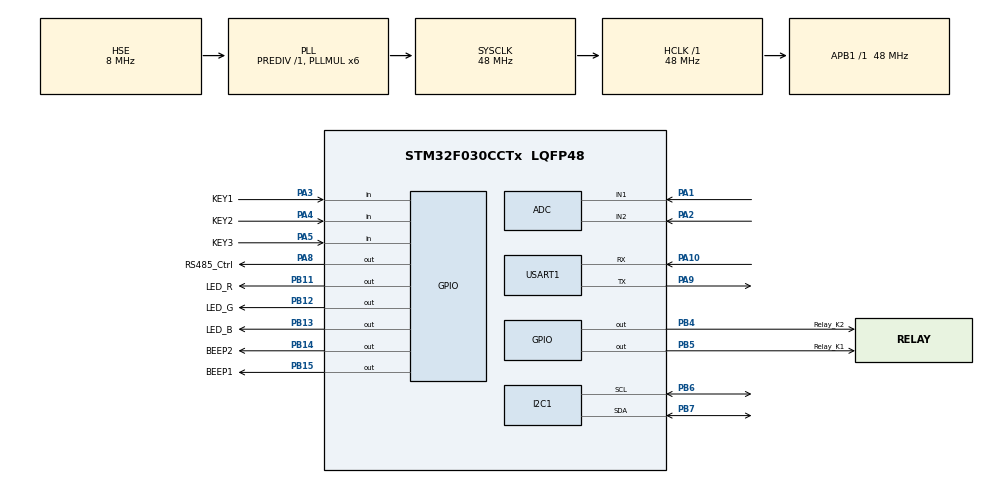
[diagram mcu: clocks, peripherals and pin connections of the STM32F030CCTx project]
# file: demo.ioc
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ADC.DiscontinuousConvMode=ENABLE
FREERTOS.Tasks01=defaultTask,24,128,StartDefaultTask,Default,NULL,Dynamic,NULL,NULL
I2C1.Timing=0x00201D2B
Mcu.Family=STM32F0
Mcu.Name=STM32F030CCTx
Mcu.Package=LQFP48
NVIC.USART1_IRQn=true\:3\:0\:false\:false\:true\:true\:true\:true\:true
PA1.Mode=IN1
PA1.Signal=ADC_IN1
PA10.Mode=Asynchronous
PA10.Signal=USART1_RX
PA13.Mode=Serial_Wire
PA13.Signal=SYS_SWDIO
PA14.Mode=Serial_Wire
PA14.Signal=SYS_SWCLK
PA2.Mode=IN2
PA2.Signal=ADC_IN2
PA3.GPIO_Label=KEY1
PA3.Signal=GPIO_Input
PA4.GPIO_Label=KEY2
PA4.Signal=GPIO_Input
PA5.GPIO_Label=KEY3
PA5.Signal=GPIO_Input
PA8.GPIO_Label=RS485_Ctrl
PA8.Signal=GPIO_Output
PA9.Mode=Asynchronous
PA9.Signal=USART1_TX
PB11.GPIO_Label=LED_R
PB11.PinState=GPIO_PIN_RESET
PB11.Signal=GPIO_Output
PB12.GPIO_Label=LED_G
PB12.PinState=GPIO_PIN_RESET
PB12.Signal=GPIO_Output
PB13.GPIO_Label=LED_B
PB13.PinState=GPIO_PIN_RESET
PB13.Signal=GPIO_Output
PB14.GPIO_Label=BEEP2
PB14.Signal=GPIO_Output
PB15.GPIO_Label=BEEP1
PB15.Signal=GPIO_Output
PB4.GPIO_Label=Relay_K2
PB4.Signal=GPIO_Output
PB5.GPIO_Label=Relay_K1
PB5.Signal=GPIO_Output
PB6.Mode=I2C
PB6.Signal=I2C1_SCL
PB7.Mode=I2C
PB7.Signal=I2C1_SDA
PF0-OSC_IN.Mode=HSE-External-Oscillator
PF0-OSC_IN.Signal=RCC_OSC_IN
PF1-OSC_OUT.Mode=HSE-External-Oscillator
PF1-OSC_OUT.Signal=RCC_OSC_OUT
ProjectManager.HeapSize=0x200
ProjectManager.StackSize=0x400
ProjectManager.TargetToolchain=MDK-ARM V5.32
RCC.AHBFreq_Value=48000000
RCC.APB1Freq_Value=48000000
RCC.APB1TimFreq_Value=48000000
RCC.EnbaleCSS=true
RCC.HCLKFreq_Value=48000000
RCC.PLLMUL=RCC_PLL_MUL6
RCC.PLLSourceVirtual=RCC_PLLSOURCE_HSE
RCC.SYSCLKFreq_VALUE=48000000
RCC.SYSCLKSource=RCC_SYSCLKSOURCE_PLLCLK
USART1.VirtualMode-Asynchronous=VM_ASYNC
VP_FREERTOS_VS_CMSIS_V2.Mode=CMSIS_V2
board=custom

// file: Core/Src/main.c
/* USER CODE BEGIN Header */
/**
  ******************************************************************************
  * @file           : main.c
  * @brief          : Main program body
  ******************************************************************************
  * @attention
  *
  * Copyright (c) 2024 STMicroelectronics.
  * All rights reserved.
  *
  * This software is licensed under terms that can be found in the LICENSE file
  * in the root directory of this software component.
  * If no LICENSE file comes with this software, it is provided AS-IS.
  *
  ******************************************************************************
  */
/* USER CODE END Header */
#include "main.h"
#include "cmsis_os.h"
#include "adc.h"
#include "i2c.h"
#include "usart.h"
#include "gpio.h"

void SystemClock_Config(void);
void MX_FREERTOS_Init(void);

int main(void)
{

  /* MCU Configuration--------------------------------------------------------*/

  /* Reset of all peripherals, Initializes the Flash interface and the Systick. */
  HAL_Init();

  /* Configure the system clock */
  SystemClock_Config();

  /* Initialize all configured peripherals */
  MX_GPIO_Init();
  MX_USART1_UART_Init();
  MX_ADC_Init();
  MX_I2C1_Init();

  /* Init scheduler */
  osKernelInitialize();

  /* Call init function for freertos objects (in cmsis_os2.c) */
  MX_FREERTOS_Init();

  /* Start scheduler */
  osKernelStart();

  /* We should never get here as control is now taken by the scheduler */

  /* Infinite loop */
  /* USER CODE BEGIN WHILE */
  while (1)
  {

		HAL_GPIO_WritePin(LED_G_GPIO_Port, LED_G_Pin, GPIO_PIN_RESET);
		HAL_Delay(1000);
		HAL_GPIO_WritePin(LED_G_GPIO_Port, LED_G_Pin, GPIO_PIN_SET);
		HAL_Delay(1000);
    /* USER CODE END WHILE */

  }
}

void SystemClock_Config(void)
{
  RCC_OscInitTypeDef RCC_OscInitStruct = {0};
  RCC_ClkInitTypeDef RCC_ClkInitStruct = {0};
  RCC_PeriphCLKInitTypeDef PeriphClkInit = {0};

  /** Initializes the RCC Oscillators according to the specified parameters
  * in the RCC_OscInitTypeDef structure.
  */
  RCC_OscInitStruct.OscillatorType = RCC_OSCILLATORTYPE_HSI|RCC_OSCILLATORTYPE_HSI14
                              |RCC_OSCILLATORTYPE_HSE;
  RCC_OscInitStruct.HSEState = RCC_HSE_ON;
  RCC_OscInitStruct.HSIState = RCC_HSI_ON;
  RCC_OscInitStruct.HSI14State = RCC_HSI14_ON;
  RCC_OscInitStruct.HSICalibrationValue = RCC_HSICALIBRATION_DEFAULT;
  RCC_OscInitStruct.HSI14CalibrationValue = 16;
  RCC_OscInitStruct.PLL.PLLState = RCC_PLL_ON;
  RCC_OscInitStruct.PLL.PLLSource = RCC_PLLSOURCE_HSE;
  RCC_OscInitStruct.PLL.PLLMUL = RCC_PLL_MUL6;
  RCC_OscInitStruct.PLL.PREDIV = RCC_PREDIV_DIV1;
  if (HAL_RCC_OscConfig(&RCC_OscInitStruct) != HAL_OK)
  {
    Error_Handler();
  }

  /** Initializes the CPU, AHB and APB buses clocks
  */
  RCC_ClkInitStruct.ClockType = RCC_CLOCKTYPE_HCLK|RCC_CLOCKTYPE_SYSCLK
                              |RCC_CLOCKTYPE_PCLK1;
  RCC_ClkInitStruct.SYSCLKSource = RCC_SYSCLKSOURCE_PLLCLK;
  RCC_ClkInitStruct.AHBCLKDivider = RCC_SYSCLK_DIV1;
  RCC_ClkInitStruct.APB1CLKDivider = RCC_HCLK_DIV1;

  if (HAL_RCC_ClockConfig(&RCC_ClkInitStruct, FLASH_LATENCY_1) != HAL_OK)
  {
    Error_Handler();
  }
  PeriphClkInit.PeriphClockSelection = RCC_PERIPHCLK_USART1|RCC_PERIPHCLK_I2C1;
  PeriphClkInit.Usart1ClockSelection = RCC_USART1CLKSOURCE_PCLK1;
  PeriphClkInit.I2c1ClockSelection = RCC_I2C1CLKSOURCE_HSI;
  if (HAL_RCCEx_PeriphCLKConfig(&PeriphClkInit) != HAL_OK)
  {
    Error_Handler();
  }

  /** Enables the Clock Security System
  */
  HAL_RCC_EnableCSS();
}

void Error_Handler(void)
{
  __disable_irq();
  while (1)
  {
  }
}

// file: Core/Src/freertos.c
/* USER CODE BEGIN Header */
/**
  ******************************************************************************
  * File Name          : freertos.c
  * Description        : Code for freertos applications
  ******************************************************************************
  * @attention
  *
  * Copyright (c) 2024 STMicroelectronics.
  * All rights reserved.
  *
  * This software is licensed under terms that can be found in the LICENSE file
  * in the root directory of this software component.
  * If no LICENSE file comes with this software, it is provided AS-IS.
  *
  ******************************************************************************
  */
/* USER CODE END Header */

#include "FreeRTOS.h"
#include "task.h"
#include "main.h"
#include "cmsis_os.h"

/* USER CODE BEGIN Includes */

#include "modbus.h"
#include "errno.h"
#include <string.h>

/* USER CODE END Includes */

/* USER CODE BEGIN PTD */

extern int errno;

/* USER CODE END PTD */

/* USER CODE BEGIN PD */

//#define 	SENOR_SWITCH
//#define 	SENOR_MONITOR
#define		SENOR_TEMPHUMI

#ifdef SENOR_SWITCH

#define SLAVE_ADDR						1
#define NB_BITS							5
#define NB_INPUT_BITS					3
#define NB_REGISTERS					0
#define NB_INPUT_REGISTERS				0

#endif

#ifdef SENOR_MONITOR

extern ADC_HandleTypeDef hadc;

#define SLAVE_ADDR						2
#define NB_BITS							5
#define NB_INPUT_BITS					0
#define NB_REGISTERS					0
#define NB_INPUT_REGISTERS				2

#endif

#ifdef SENOR_TEMPHUMI

extern ADC_HandleTypeDef hadc;

#define SLAVE_ADDR						3
#define NB_BITS							5
#define NB_INPUT_BITS					0
#define NB_REGISTERS					0
#define NB_INPUT_REGISTERS				2

#endif

/* USER CODE END PD */

/* Definitions for defaultTask */
osThreadId_t defaultTaskHandle;
const osThreadAttr_t defaultTask_attributes = {
  .name = "defaultTask",
  .stack_size = 128 * 4,
  .priority = (osPriority_t) osPriorityNormal,
};

/* USER CODE BEGIN FunctionPrototypes */

#ifdef SENOR_TEMPHUMI

unsigned char Calc_CRC8(unsigned char *message,unsigned char Num)
{
	unsigned char i;
	unsigned char byte;
	unsigned char crc =0xFF;
	for (byte = 0;byte<Num;byte++)
	{
		crc^=(message[byte]);
		for(i=8;i>0;--i)
		{
			if(crc&0x80)
				crc=(crc<<1)^0x31;
			else
				crc=(crc<<1);
		}
	}
	return crc;
}//

static 	uint32_t g_temp,g_humi;

static void AHT20_GetData(uint16_t *temp, uint16_t *humi)
{
	*temp = g_temp;
	*humi = g_humi;
}

void AHT20Task(void *param)
{
	extern I2C_HandleTypeDef hi2c1;
	uint8_t aht20_cmd[] = {0xac, 0x33, 0x00};
	uint8_t tempHumiData[7];
	uint8_t crc;

	/* AHT20 ready */
	vTaskDelay(10);

	while(1)
	{
		 if (HAL_OK == HAL_I2C_Master_Transmit(&hi2c1, 0x70, aht20_cmd, 3, 100))
		 {
		 	/* AHT20 ready */
			vTaskDelay(100);
			if(HAL_OK == HAL_I2C_Master_Receive(&hi2c1, 0x70, tempHumiData, 7, 100))
			{
				/* caculate crc */
				crc = Calc_CRC8(tempHumiData, 6);
				if(crc == tempHumiData[6])
				{
					/* read ok */
					g_humi = ((uint32_t)tempHumiData[1] << 12) | ((uint32_t)tempHumiData[2] << 4) | ((uint32_t)tempHumiData[3] >> 4);
					g_temp = (((uint32_t)tempHumiData[3] & 0x0f ) << 16) | ((uint32_t)tempHumiData[4] << 8) | ((uint32_t)tempHumiData[5]);

					g_humi = g_humi * 100 * 10 / 0x100000;	/* 0.1% */
					g_temp = g_temp * 200 * 10 / 0x100000 - 500;

				}
			}
		 }

		 vTaskDelay(30);
	}

}

#endif

/* USER CODE END FunctionPrototypes */

void StartDefaultTask(void *argument);

void MX_FREERTOS_Init(void); /* (MISRA C 2004 rule 8.1) */

void MX_FREERTOS_Init(void) {

  /* Create the thread(s) */
  /* creation of defaultTask */
  defaultTaskHandle = osThreadNew(StartDefaultTask, NULL, &defaultTask_attributes);

  /* USER CODE BEGIN RTOS_THREADS */
  /* add threads, ... */
  #ifdef SENOR_TEMPHUMI

  osThreadNew(AHT20Task, NULL, &defaultTask_attributes);

  #endif

  /* USER CODE END RTOS_THREADS */

}

void StartDefaultTask(void *argument)
{
  /* USER CODE BEGIN StartDefaultTask */
  /* Infinite loop */
  	GPIO_PinState val;
	uint8_t *query;
	modbus_t *ctx;
	int rc;
	modbus_mapping_t *mb_mapping;

	ctx = modbus_new_st_rtu("uart1", 115200, 'N', 8, 1);
	modbus_set_slave(ctx, SLAVE_ADDR);
	query = pvPortMalloc(MODBUS_RTU_MAX_ADU_LENGTH);

#ifdef SENOR_MONITOR

 	/* caculate the adc */
	HAL_ADCEx_Calibration_Start(&hadc);

#endif

	mb_mapping = modbus_mapping_new_start_address(0,
												  NB_BITS,
												  0,
												  NB_INPUT_BITS,
												  0,
												  NB_REGISTERS,
												  0,
												  NB_INPUT_REGISTERS);

	rc = modbus_connect(ctx);
	if (rc == -1) {
		//fprintf(stderr, "Unable to connect %s\n", modbus_strerror(errno));
		modbus_free(ctx);
		vTaskDelete(NULL);;
	}

	for (;;) {
		do {
			rc = modbus_receive(ctx, query);
			/* Filtered queries return 0 */
		} while (rc == 0);

		/* The connection is not closed on errors which require on reply such as
		   bad CRC in RTU. */
		if (rc == -1 && errno != EMBBADCRC) {
			/* Quit */
			continue;
		}

#ifdef SENOR_SWITCH
		/* update values of R/D bits */
		/* key1~3 -> PA3~5
		*	keyddown -> posedge
		*/
		val = HAL_GPIO_ReadPin(KEY1_GPIO_Port, KEY1_Pin);
		if(val)
			mb_mapping->tab_input_bits[0] = 0;
		else
			mb_mapping->tab_input_bits[0] = 1;

		val = HAL_GPIO_ReadPin(KEY2_GPIO_Port, KEY2_Pin);
		if(val)
			mb_mapping->tab_input_bits[1] = 0;
		else
			mb_mapping->tab_input_bits[1] = 1;

		val = HAL_GPIO_ReadPin(KEY3_GPIO_Port, KEY3_Pin);
		if(val)
			mb_mapping->tab_input_bits[2] = 0;
		else
			mb_mapping->tab_input_bits[2] = 1;

#endif

#ifdef SENOR_MONITOR

		/* update adc values */
		for (int i = 0; i < 2; i++)
		{
			HAL_ADC_Start(&hadc);
			if (HAL_OK == HAL_ADC_PollForConversion(&hadc, 100))
			{
				mb_mapping->tab_input_registers[i] = HAL_ADC_GetValue(&hadc);
			}
		}

#endif

#ifdef SENOR_TEMPHUMI

		uint16_t temp,humi;
		AHT20_GetData(&temp,&humi);
		mb_mapping->tab_input_registers[0] = temp;
		mb_mapping->tab_input_registers[1] = humi;

#endif

		rc = modbus_reply(ctx, query, rc, mb_mapping);
		if (rc == -1) {
			//break;
		}

#ifdef SENOR_SWITCH
		if (mb_mapping->tab_bits[0])
      HAL_GPIO_WritePin(Relay_K1_GPIO_Port, Relay_K1_Pin, GPIO_PIN_SET); //Relay1
		else
			HAL_GPIO_WritePin(Relay_K1_GPIO_Port, Relay_K1_Pin, GPIO_PIN_RESET);

		if (mb_mapping->tab_bits[1])
      HAL_GPIO_WritePin(Relay_K2_GPIO_Port, Relay_K2_Pin, GPIO_PIN_SET); //Relay2
		else
			HAL_GPIO_WritePin(Relay_K2_GPIO_Port, Relay_K2_Pin, GPIO_PIN_RESET);

		if (mb_mapping->tab_bits[2])
      HAL_GPIO_WritePin(LED_R_GPIO_Port, LED_R_Pin, GPIO_PIN_RESET); //LED1
		else
			HAL_GPIO_WritePin(LED_R_GPIO_Port, LED_R_Pin, GPIO_PIN_SET);
		if (mb_mapping->tab_bits[3])
      HAL_GPIO_WritePin(LED_G_GPIO_Port, LED_G_Pin, GPIO_PIN_RESET); //LED2
		else
			HAL_GPIO_WritePin(LED_G_GPIO_Port, LED_G_Pin, GPIO_PIN_SET);
		if (mb_mapping->tab_bits[4])
      HAL_GPIO_WritePin(LED_B_GPIO_Port, LED_B_Pin, GPIO_PIN_RESET); //LED3
		else
			HAL_GPIO_WritePin(LED_B_GPIO_Port, LED_B_Pin, GPIO_PIN_SET);

#endif

#ifdef SENOR_MONITOR

		/* ctrl the led and beep */
	  if (mb_mapping->tab_bits[0])
	HAL_GPIO_WritePin(BEEP1_GPIO_Port, BEEP1_Pin, GPIO_PIN_SET); //beep1
	  else
		  HAL_GPIO_WritePin(BEEP1_GPIO_Port, BEEP1_Pin, GPIO_PIN_RESET);

	  if (mb_mapping->tab_bits[1])
	HAL_GPIO_WritePin(BEEP2_GPIO_Port, BEEP2_Pin, GPIO_PIN_SET); //beep2
	  else
		  HAL_GPIO_WritePin(BEEP2_GPIO_Port, BEEP2_Pin, GPIO_PIN_RESET);

	  if (mb_mapping->tab_bits[2])
	HAL_GPIO_WritePin(LED_R_GPIO_Port, LED_R_Pin, GPIO_PIN_RESET); //LED1
	  else
		  HAL_GPIO_WritePin(LED_R_GPIO_Port, LED_R_Pin, GPIO_PIN_SET);
	  if (mb_mapping->tab_bits[3])
	HAL_GPIO_WritePin(LED_G_GPIO_Port, LED_G_Pin, GPIO_PIN_RESET); //LED2
	  else
		  HAL_GPIO_WritePin(LED_G_GPIO_Port, LED_G_Pin, GPIO_PIN_SET);
	  if (mb_mapping->tab_bits[4])
	HAL_GPIO_WritePin(LED_B_GPIO_Port, LED_B_Pin, GPIO_PIN_RESET); //LED3
	  else
		  HAL_GPIO_WritePin(LED_B_GPIO_Port, LED_B_Pin, GPIO_PIN_SET);

#endif

#ifdef SENOR_TEMPHUMI

			/* ctrl the led and beep */
		  if (mb_mapping->tab_bits[0])
		HAL_GPIO_WritePin(BEEP1_GPIO_Port, BEEP1_Pin, GPIO_PIN_SET); //beep1
		  else
			  HAL_GPIO_WritePin(BEEP1_GPIO_Port, BEEP1_Pin, GPIO_PIN_RESET);

		  if (mb_mapping->tab_bits[1])
		HAL_GPIO_WritePin(BEEP2_GPIO_Port, BEEP2_Pin, GPIO_PIN_SET); //beep2
		  else
			  HAL_GPIO_WritePin(BEEP2_GPIO_Port, BEEP2_Pin, GPIO_PIN_RESET);

		  if (mb_mapping->tab_bits[2])
		HAL_GPIO_WritePin(LED_R_GPIO_Port, LED_R_Pin, GPIO_PIN_RESET); //LED1
		  else
			  HAL_GPIO_WritePin(LED_R_GPIO_Port, LED_R_Pin, GPIO_PIN_SET);
		  if (mb_mapping->tab_bits[3])
		HAL_GPIO_WritePin(LED_G_GPIO_Port, LED_G_Pin, GPIO_PIN_RESET); //LED2
		  else
			  HAL_GPIO_WritePin(LED_G_GPIO_Port, LED_G_Pin, GPIO_PIN_SET);
		  if (mb_mapping->tab_bits[4])
		HAL_GPIO_WritePin(LED_B_GPIO_Port, LED_B_Pin, GPIO_PIN_RESET); //LED3
		  else
			  HAL_GPIO_WritePin(LED_B_GPIO_Port, LED_B_Pin, GPIO_PIN_SET);

#endif

	}

	modbus_mapping_free(mb_mapping);
	vPortFree(query);
	/* For RTU */
	modbus_close(ctx);
	modbus_free(ctx);

	vTaskDelete(NULL);
  /* USER CODE END StartDefaultTask */
}
